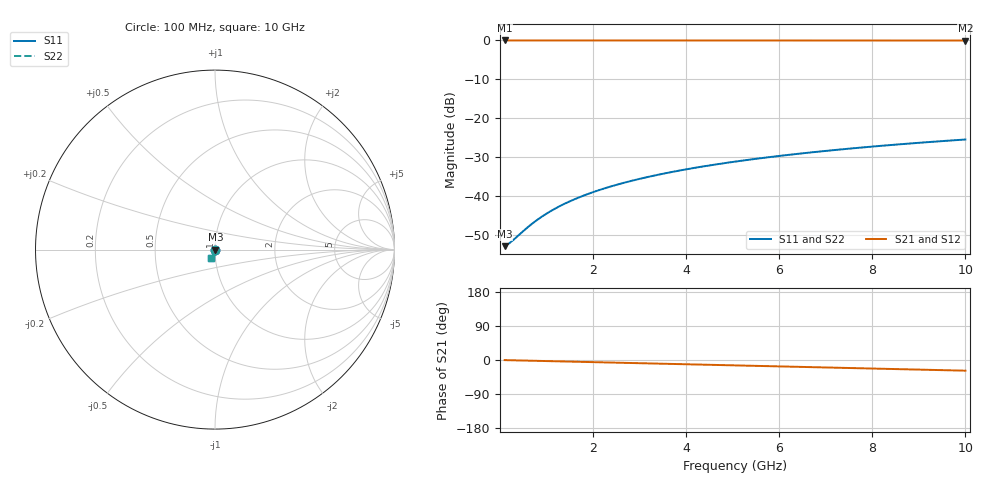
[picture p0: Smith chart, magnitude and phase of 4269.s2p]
# Hz S RI R 50.00
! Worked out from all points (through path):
!   100 points, 100 MHz to 10 GHz, reference 50 ohm
!   highest |S21| = -0.02 dB at 100 MHz (marker M1); lowest = 0.0 dB at 10 GHz (marker M2)
!   group delay of S21, straight-line fit = 7.83 ps
!   lowest |S11| = -52.9 dB at 100 MHz (marker M3), VSWR 1.00, Z = 50.2 - j0.0562 ohm
!   |S11| at or under -10 dB: start of sweep to end of sweep
!   |S22| runs from -52.9 to -25.5 dB; largest |S21 - S12| = 0
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1e8  0.00219 -0.00056  0.9978 -0.00489  0.9978 -0.00489  0.00219 -0.00056
2e8  0.0022 -0.00112  0.9977 -0.00979  0.9977 -0.00979  0.0022 -0.00112
3e8  0.00219 -0.00168  0.9977 -0.0147  0.9977 -0.0147  0.00219 -0.00168
6e8  0.00213 -0.00336  0.9973 -0.0294  0.9973 -0.0294  0.00213 -0.00336
7e8  0.0021 -0.00392  0.9971 -0.0342  0.9971 -0.0342  0.0021 -0.00392
8e8  0.00206 -0.00447  0.9969 -0.0391  0.9969 -0.0391  0.00206 -0.00447
1e9  0.00197 -0.00559  0.9965 -0.0489  0.9965 -0.0489  0.00197 -0.00559
1.2e9  0.00186 -0.00671  0.9959 -0.0587  0.9959 -0.0587  0.00186 -0.00671
1.4e9  0.00172 -0.00782  0.9953 -0.0685  0.9953 -0.0685  0.00172 -0.00782
1.6e9  0.00156 -0.00893  0.9946 -0.0782  0.9946 -0.0782  0.00156 -0.00893
1.8e9  0.00137 -0.01  0.9937 -0.088  0.9937 -0.088  0.00137 -0.01
2.1e9  0.00106 -0.0117  0.9923 -0.1026  0.9923 -0.1026  0.00106 -0.0117
2.5e9  0.000564 -0.0139  0.99 -0.122  0.99 -0.122  0.000564 -0.0139
2.9e9  -1.85e-05 -0.0161  0.9874 -0.1414  0.9874 -0.1414  -1.85e-05 -0.0161
3.4e9  -0.000866 -0.0187  0.9835 -0.1656  0.9835 -0.1656  -0.000866 -0.0187
4.2e9  -0.00249 -0.0229  0.9761 -0.2041  0.9761 -0.2041  -0.00249 -0.0229
5.1e9  -0.00471 -0.0275  0.966 -0.247  0.966 -0.247  -0.00471 -0.0275
5.9e9  -0.00702 -0.0314  0.9553 -0.2848  0.9553 -0.2848  -0.00702 -0.0314
6.7e9  -0.00962 -0.0351  0.9432 -0.3221  0.9432 -0.3221  -0.00962 -0.0351
7.5e9  -0.0125 -0.0386  0.9296 -0.3589  0.9296 -0.3589  -0.0125 -0.0386
8.4e9  -0.0161 -0.0422  0.9125 -0.3997  0.9125 -0.3997  -0.0161 -0.0422
1e10  -0.0232 -0.0479  0.8778 -0.4702  0.8778 -0.4702  -0.0232 -0.0479
